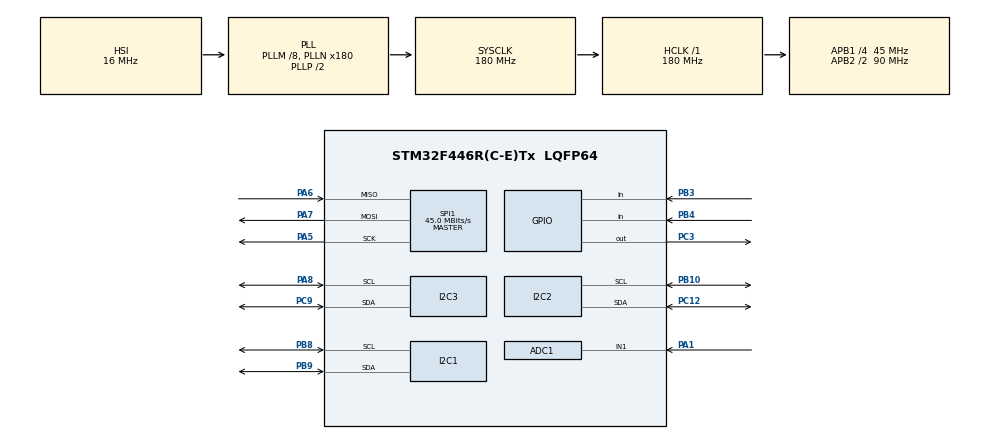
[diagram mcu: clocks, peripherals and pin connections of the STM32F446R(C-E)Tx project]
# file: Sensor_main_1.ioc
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ADC1.Channel-0\#ChannelRegularConversion=ADC_CHANNEL_1
ADC1.NbrOfConversionFlag=1
ADC1.Rank-0\#ChannelRegularConversion=1
ADC1.SamplingTime-0\#ChannelRegularConversion=ADC_SAMPLETIME_3CYCLES
ADC1.master=1
I2C1.I2C_Mode=I2C_Fast
I2C3.I2C_Mode=I2C_Fast
Mcu.Family=STM32F4
Mcu.Name=STM32F446R(C-E)Tx
Mcu.Package=LQFP64
NVIC.PriorityGroup=NVIC_PRIORITYGROUP_4
PA1.Signal=ADCx_IN1
PA13.Mode=Serial_Wire
PA13.Signal=SYS_JTMS-SWDIO
PA14.Mode=Serial_Wire
PA14.Signal=SYS_JTCK-SWCLK
PA5.Mode=Full_Duplex_Master
PA5.Signal=SPI1_SCK
PA6.Mode=Full_Duplex_Master
PA6.Signal=SPI1_MISO
PA7.Mode=Full_Duplex_Master
PA7.Signal=SPI1_MOSI
PA8.Mode=I2C
PA8.Signal=I2C3_SCL
PB10.Mode=I2C
PB10.Signal=I2C2_SCL
PB3.Signal=GPIO_Input
PB4.Signal=GPIO_Input
PB8.Mode=I2C
PB8.Signal=I2C1_SCL
PB9.Mode=I2C
PB9.Signal=I2C1_SDA
PC12.Mode=I2C
PC12.Signal=I2C2_SDA
PC3.Signal=GPIO_Output
PC9.Mode=I2C
PC9.Signal=I2C3_SDA
PH0-OSC_IN.Mode=HSE-External-Oscillator
PH0-OSC_IN.Signal=RCC_OSC_IN
PH1-OSC_OUT.Mode=HSE-External-Oscillator
PH1-OSC_OUT.Signal=RCC_OSC_OUT
ProjectManager.HeapSize=0x200
ProjectManager.StackSize=0x400
ProjectManager.TargetToolchain=STM32CubeIDE
RCC.AHBFreq_Value=180000000
RCC.APB1CLKDivider=RCC_HCLK_DIV4
RCC.APB1Freq_Value=45000000
RCC.APB1TimFreq_Value=90000000
RCC.APB2CLKDivider=RCC_HCLK_DIV2
RCC.APB2Freq_Value=90000000
RCC.APB2TimFreq_Value=180000000
RCC.CortexFreq_Value=180000000
RCC.HCLKFreq_Value=180000000
RCC.HSE_VALUE=24000000
RCC.PLLM=8
RCC.PLLN=180
RCC.SYSCLKFreq_VALUE=180000000
RCC.SYSCLKSource=RCC_SYSCLKSOURCE_PLLCLK
RCC.USBFreq_Value=180000000
RCC.VCOOutputFreq_Value=360000000
SH.ADCx_IN1.0=ADC1_IN1,IN1
SPI1.BaudRatePrescaler=SPI_BAUDRATEPRESCALER_2
SPI1.CalculateBaudRate=45.0 MBits/s
SPI1.Direction=SPI_DIRECTION_2LINES
SPI1.Mode=SPI_MODE_MASTER
SPI1.VirtualType=VM_MASTER
board=custom

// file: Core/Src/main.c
/* USER CODE BEGIN Header */
/**
  ******************************************************************************
  * @file           : main.c
  * @brief          : Main program body
  ******************************************************************************
  * @attention
  *
  * Copyright (c) 2022 STMicroelectronics.
  * All rights reserved.
  *
  * This software is licensed under terms that can be found in the LICENSE file
  * in the root directory of this software component.
  * If no LICENSE file comes with this software, it is provided AS-IS.
  *
  ******************************************************************************
  */
/* USER CODE END Header */
#include "main.h"
#include "ssd1306.h"

/* USER CODE BEGIN PD */
FATFS fs;
FIL fil;
/* USER CODE END PD */

 ADC_HandleTypeDef hadc1;

I2C_HandleTypeDef hi2c1;
I2C_HandleTypeDef hi2c2;
I2C_HandleTypeDef hi2c3;

SPI_HandleTypeDef hspi1;

/* USER CODE BEGIN PV */
#define MPU6050_ADDRESS  0b1101000
#define HMC5883L_ADDRESS 0b0011110
#define MS5611_ADDRESS   0b1110111
/* USER CODE END PV */

void SystemClock_Config(void);
static void MX_GPIO_Init(void);
static void MX_ADC1_Init(void);
static void MX_I2C1_Init(void);
static void MX_I2C2_Init(void);
static void MX_I2C3_Init(void);
static void MX_SPI1_Init(void);

int main(void)
{

  /* MCU Configuration--------------------------------------------------------*/

  /* Reset of all peripherals, Initializes the Flash interface and the Systick. */
  HAL_Init();

  /* Configure the system clock */
  SystemClock_Config();

  /* Initialize all configured peripherals */
  MX_GPIO_Init();
  MX_ADC1_Init();
  MX_I2C1_Init();
  MX_I2C2_Init();
  MX_I2C3_Init();
  MX_SPI1_Init();
  /* USER CODE BEGIN 2 */
  	HAL_Delay(500);
    f_mount(&fs, "", 0);
    f_open(&fil, "write.txt", FA_OPEN_ALWAYS | FA_WRITE | FA_READ);
    f_lseek(&fil, fil.fsize);
    f_puts("Hello from Nizar\n", &fil);
    f_close(&fil);

  ssd1306_Init();
  //ssd1306_Fill(White);
  ssd1306_SetCursor(5,5);
  char retVal= ssd1306_WriteString("Hellos", Font_7x10, White);
  ssd1306_UpdateScreen();
  /* USER CODE END 2 */
#define D2R 0.01745329252 //Degree To Radian Constant

#define MPU6050_ADDR 0xD0 //Already Left Shifted
#define CONFIG_REG 0x1A
#define GYRO_CONFIG_REG 0x1B
#define ACCEL_CONFIG_REG 0x1C
#define SMPLRT_DIV_REG 0x19
#define INT_PIN_CFG 0x37
#define INT_ENABLE_REG 0x38
#define INT_STATUS_REG 0x3A
#define ACCEL_XOUT_H_REG 0x3B
#define TEMP_OUT_H_REG 0x41
#define GYRO_XOUT_H_REG 0x43
#define USER_CTRL_REG 0x6A
#define PWR_MGMT_1_REG 0x6B
#define WHO_AM_I_REG 0x75

/////////////////////////////////////
#define HMC5883L_ADDRESS              0x1E // Not Left Shifted
#define HMC5883L_REG_CONFIG_A         (0x00)
#define HMC5883L_REG_CONFIG_B         (0x01)
#define HMC5883L_REG_MODE             (0x02)
#define HMC5883L_REG_OUT_X_M          (0x03)
#define HMC5883L_REG_OUT_X_L          (0x04)
#define HMC5883L_REG_OUT_Z_M          (0x05)
#define HMC5883L_REG_OUT_Z_L          (0x06)
#define HMC5883L_REG_OUT_Y_M          (0x07)
#define HMC5883L_REG_OUT_Y_L          (0x08)
#define HMC5883L_REG_STATUS           (0x09)
#define HMC5883L_REG_IDENT_A          (0x0A)
#define HMC5883L_REG_IDENT_B          (0x0B)
#define HMC5883L_REG_IDENT_C          (0x0C)

  uint8_t MPU6050_rx=0;
  uint8_t MPU6050_rx_buf[20];
  uint8_t MPU6050_tx;
  float MPU6050_Gyro_LSB = 32.8;
  float MPU6050_Acc_LSB = 4096.0;

// configure the MPU6050 (gyro/accelerometer)
	MPU6050_tx = 0;
	HAL_I2C_Mem_Write(&hi2c1, MPU6050_ADDR, 0x6B, 1, 0x00, 1, 100); // exit sleep
	HAL_Delay(10);

	MPU6050_tx = 0;
	HAL_I2C_Mem_Write(&hi2c1, MPU6050_ADDR, 0x19, 1, 109, 1, 100); // sample rate = 8kHz / 110 = 72.7Hz
	HAL_Delay(10);

	MPU6050_tx = 0;
	HAL_I2C_Mem_Write(&hi2c1, MPU6050_ADDR, 0x1B, 1, 0x18, 1, 100); // gyro full scale = +/- 2000dps
	HAL_Delay(10);

	MPU6050_tx = 0;
	HAL_I2C_Mem_Write(&hi2c1, MPU6050_ADDR, 0x1C, 1, 0x08, 1, 100); // accelerometer full scale = +/- 4g
	HAL_Delay(10);

	MPU6050_tx = 0;
	HAL_I2C_Mem_Write(&hi2c1, MPU6050_ADDR, 0x38, 1, 0x01, 1, 100); // enable INTA interrupt
	HAL_Delay(10);

// configure the HMC5883L (magnetometer)

	HAL_I2C_Mem_Write(&hi2c1, MPU6050_ADDR, 0x6A, 1, 0x00, 1, 100); // disable i2c master mode
	HAL_Delay(10);

	HAL_I2C_Mem_Write(&hi2c1, MPU6050_ADDR, 0x37, 1, 0x02, 1, 100); // enable i2c master bypass mode
	HAL_Delay(10);

	HAL_I2C_Mem_Write(&hi2c1, HMC5883L_ADDRESS, 0x00, 1, 0x18, 1, 100); // sample rate = 75Hz
	HAL_Delay(10);

	HAL_I2C_Mem_Write(&hi2c1, HMC5883L_ADDRESS, 0x01, 1, 0x60, 1, 100); // full scale = +/- 2.5 Gauss
	HAL_Delay(10);

	HAL_I2C_Mem_Write(&hi2c1, HMC5883L_ADDRESS, 0x02, 1, 0x00, 1, 100); // continuous measurement mode
	HAL_Delay(10);

	HAL_I2C_Mem_Write(&hi2c1, MPU6050_ADDR, 0x37, 1, 0x00, 1, 100); // disable i2c master bypass mode
	HAL_Delay(10);

	HAL_I2C_Mem_Write(&hi2c1, MPU6050_ADDR, 0x6A, 1, 0x20, 1, 100); // enable i2c master mode
	HAL_Delay(10);

// configure the MPU6050 to automatically read the magnetometer

	HAL_I2C_Mem_Write(&hi2c1, MPU6050_ADDR, 0x25, 1, HMC5883L_ADDRESS | 0x80 , 1, 100); // slave 0 i2c address, read mode
	HAL_Delay(10);

	HAL_I2C_Mem_Write(&hi2c1, MPU6050_ADDR, 0x26, 1, 0x03, 1, 100); // slave 0 register = 0x03 (x axis)
	HAL_Delay(10);

	HAL_I2C_Mem_Write(&hi2c1, MPU6050_ADDR, 0x27, 1, 6 | 0x80, 1, 100); // slave 0 transfer size = 6, enabled
	HAL_Delay(10);

	HAL_I2C_Mem_Write(&hi2c1, MPU6050_ADDR, 0x67, 1, 1 , 1, 100); // enable slave 0 delay
	HAL_Delay(10);

  	uint8_t rx_buffer[20];
  /* Infinite loop */
  while (1)
  {
	  	uint8_t rx_buffer[20];
	  	HAL_I2C_Mem_Read(&hi2c1, MPU6050_ADDR,0x3B, 1, &rx_buffer,20,100);

	  	// extract the raw values
	  	int16_t  accel_x  = rx_buffer[0]  << 8 | rx_buffer[1];
	  	int16_t  accel_y  = rx_buffer[2]  << 8 | rx_buffer[3];
	  	int16_t  accel_z  = rx_buffer[4]  << 8 | rx_buffer[5];
	  	int16_t  mpu_temp = rx_buffer[6]  << 8 | rx_buffer[7];
	  	int16_t  gyro_x   = rx_buffer[8]  << 8 | rx_buffer[9];
	  	int16_t  gyro_y   = rx_buffer[10] << 8 | rx_buffer[11];
	  	int16_t  gyro_z   = rx_buffer[12] << 8 | rx_buffer[13];
	  	int16_t  magn_x   = rx_buffer[14] << 8 | rx_buffer[15];
	  	int16_t  magn_y   = rx_buffer[16] << 8 | rx_buffer[17];
	  	int16_t  magn_z   = rx_buffer[18] << 8 | rx_buffer[19];

	  	// convert accelerometer readings into G's
	  	int16_t	accel_x_g = accel_x / 8192.0f;
	  	int16_t	accel_y_g = accel_y / 8192.0f;
	  	int16_t	accel_z_g = accel_z / 8192.0f;

	  	// convert temperature reading into degrees Celsius
	  	int16_t	mpu_temp_c = mpu_temp / 340.0f + 36.53f;

	  	// convert gyro readings into Radians per second
	  	int16_t	gyro_x_rad = gyro_x / 939.650784f;
	  	int16_t	gyro_y_rad = gyro_y / 939.650784f;
	  	int16_t	gyro_z_rad = gyro_z / 939.650784f;

	  	// convert magnetometer readings into Gauss's
	  	int16_t	magn_x_gs = magn_x / 660.0f;
	  	int16_t	magn_y_gs = magn_y / 660.0f;
	  	int16_t	magn_z_gs = magn_z / 660.0f;

	  char str[5];
	  sprintf(str, "%d", accel_x);

	  ssd1306_SetCursor(0,0);
	  char retVal= ssd1306_WriteString(str, Font_7x10, White);
	  ssd1306_UpdateScreen();

	  char str2[5];
	  sprintf(str2, "%d", accel_y);

	  ssd1306_SetCursor(0,15);
	  retVal= ssd1306_WriteString(str2, Font_7x10, White);
	  ssd1306_UpdateScreen();
  }
}

void SystemClock_Config(void)
{
  RCC_OscInitTypeDef RCC_OscInitStruct = {0};
  RCC_ClkInitTypeDef RCC_ClkInitStruct = {0};

  /** Configure the main internal regulator output voltage
  */
  __HAL_RCC_PWR_CLK_ENABLE();
  __HAL_PWR_VOLTAGESCALING_CONFIG(PWR_REGULATOR_VOLTAGE_SCALE1);

  /** Initializes the RCC Oscillators according to the specified parameters
  * in the RCC_OscInitTypeDef structure.
  */
  RCC_OscInitStruct.OscillatorType = RCC_OSCILLATORTYPE_HSI;
  RCC_OscInitStruct.HSIState = RCC_HSI_ON;
  RCC_OscInitStruct.HSICalibrationValue = RCC_HSICALIBRATION_DEFAULT;
  RCC_OscInitStruct.PLL.PLLState = RCC_PLL_ON;
  RCC_OscInitStruct.PLL.PLLSource = RCC_PLLSOURCE_HSI;
  RCC_OscInitStruct.PLL.PLLM = 8;
  RCC_OscInitStruct.PLL.PLLN = 180;
  RCC_OscInitStruct.PLL.PLLP = RCC_PLLP_DIV2;
  RCC_OscInitStruct.PLL.PLLQ = 2;
  RCC_OscInitStruct.PLL.PLLR = 2;
  if (HAL_RCC_OscConfig(&RCC_OscInitStruct) != HAL_OK)
  {
    Error_Handler();
  }

  /** Activate the Over-Drive mode
  */
  if (HAL_PWREx_EnableOverDrive() != HAL_OK)
  {
    Error_Handler();
  }

  /** Initializes the CPU, AHB and APB buses clocks
  */
  RCC_ClkInitStruct.ClockType = RCC_CLOCKTYPE_HCLK|RCC_CLOCKTYPE_SYSCLK
                              |RCC_CLOCKTYPE_PCLK1|RCC_CLOCKTYPE_PCLK2;
  RCC_ClkInitStruct.SYSCLKSource = RCC_SYSCLKSOURCE_PLLCLK;
  RCC_ClkInitStruct.AHBCLKDivider = RCC_SYSCLK_DIV1;
  RCC_ClkInitStruct.APB1CLKDivider = RCC_HCLK_DIV4;
  RCC_ClkInitStruct.APB2CLKDivider = RCC_HCLK_DIV2;

  if (HAL_RCC_ClockConfig(&RCC_ClkInitStruct, FLASH_LATENCY_5) != HAL_OK)
  {
    Error_Handler();
  }
}

static void MX_ADC1_Init(void)
{

  ADC_ChannelConfTypeDef sConfig = {0};

  /** Configure the global features of the ADC (Clock, Resolution, Data Alignment and number of conversion)
  */
  hadc1.Instance = ADC1;
  hadc1.Init.ClockPrescaler = ADC_CLOCK_SYNC_PCLK_DIV4;
  hadc1.Init.Resolution = ADC_RESOLUTION_12B;
  hadc1.Init.ScanConvMode = DISABLE;
  hadc1.Init.ContinuousConvMode = DISABLE;
  hadc1.Init.DiscontinuousConvMode = DISABLE;
  hadc1.Init.ExternalTrigConvEdge = ADC_EXTERNALTRIGCONVEDGE_NONE;
  hadc1.Init.ExternalTrigConv = ADC_SOFTWARE_START;
  hadc1.Init.DataAlign = ADC_DATAALIGN_RIGHT;
  hadc1.Init.NbrOfConversion = 1;
  hadc1.Init.DMAContinuousRequests = DISABLE;
  hadc1.Init.EOCSelection = ADC_EOC_SINGLE_CONV;
  if (HAL_ADC_Init(&hadc1) != HAL_OK)
  {
    Error_Handler();
  }

  /** Configure for the selected ADC regular channel its corresponding rank in the sequencer and its sample time.
  */
  sConfig.Channel = ADC_CHANNEL_1;
  sConfig.Rank = 1;
  sConfig.SamplingTime = ADC_SAMPLETIME_3CYCLES;
  if (HAL_ADC_ConfigChannel(&hadc1, &sConfig) != HAL_OK)
  {
    Error_Handler();
  }

}

static void MX_I2C1_Init(void)
{

  hi2c1.Instance = I2C1;
  hi2c1.Init.ClockSpeed = 400000;
  hi2c1.Init.DutyCycle = I2C_DUTYCYCLE_2;
  hi2c1.Init.OwnAddress1 = 0;
  hi2c1.Init.AddressingMode = I2C_ADDRESSINGMODE_7BIT;
  hi2c1.Init.DualAddressMode = I2C_DUALADDRESS_DISABLE;
  hi2c1.Init.OwnAddress2 = 0;
  hi2c1.Init.GeneralCallMode = I2C_GENERALCALL_DISABLE;
  hi2c1.Init.NoStretchMode = I2C_NOSTRETCH_DISABLE;
  if (HAL_I2C_Init(&hi2c1) != HAL_OK)
  {
    Error_Handler();
  }

}

static void MX_I2C2_Init(void)
{

  hi2c2.Instance = I2C2;
  hi2c2.Init.ClockSpeed = 100000;
  hi2c2.Init.DutyCycle = I2C_DUTYCYCLE_2;
  hi2c2.Init.OwnAddress1 = 0;
  hi2c2.Init.AddressingMode = I2C_ADDRESSINGMODE_7BIT;
  hi2c2.Init.DualAddressMode = I2C_DUALADDRESS_DISABLE;
  hi2c2.Init.OwnAddress2 = 0;
  hi2c2.Init.GeneralCallMode = I2C_GENERALCALL_DISABLE;
  hi2c2.Init.NoStretchMode = I2C_NOSTRETCH_DISABLE;
  if (HAL_I2C_Init(&hi2c2) != HAL_OK)
  {
    Error_Handler();
  }

}

static void MX_I2C3_Init(void)
{

  hi2c3.Instance = I2C3;
  hi2c3.Init.ClockSpeed = 400000;
  hi2c3.Init.DutyCycle = I2C_DUTYCYCLE_2;
  hi2c3.Init.OwnAddress1 = 0;
  hi2c3.Init.AddressingMode = I2C_ADDRESSINGMODE_7BIT;
  hi2c3.Init.DualAddressMode = I2C_DUALADDRESS_DISABLE;
  hi2c3.Init.OwnAddress2 = 0;
  hi2c3.Init.GeneralCallMode = I2C_GENERALCALL_DISABLE;
  hi2c3.Init.NoStretchMode = I2C_NOSTRETCH_DISABLE;
  if (HAL_I2C_Init(&hi2c3) != HAL_OK)
  {
    Error_Handler();
  }

}

static void MX_SPI1_Init(void)
{

  /* SPI1 parameter configuration*/
  hspi1.Instance = SPI1;
  hspi1.Init.Mode = SPI_MODE_MASTER;
  hspi1.Init.Direction = SPI_DIRECTION_2LINES;
  hspi1.Init.DataSize = SPI_DATASIZE_8BIT;
  hspi1.Init.CLKPolarity = SPI_POLARITY_LOW;
  hspi1.Init.CLKPhase = SPI_PHASE_1EDGE;
  hspi1.Init.NSS = SPI_NSS_SOFT;
  hspi1.Init.BaudRatePrescaler = SPI_BAUDRATEPRESCALER_2;
  hspi1.Init.FirstBit = SPI_FIRSTBIT_MSB;
  hspi1.Init.TIMode = SPI_TIMODE_DISABLE;
  hspi1.Init.CRCCalculation = SPI_CRCCALCULATION_DISABLE;
  hspi1.Init.CRCPolynomial = 10;
  if (HAL_SPI_Init(&hspi1) != HAL_OK)
  {
    Error_Handler();
  }

}

static void MX_GPIO_Init(void)
{
  GPIO_InitTypeDef GPIO_InitStruct = {0};

  /* GPIO Ports Clock Enable */
  __HAL_RCC_GPIOH_CLK_ENABLE();
  __HAL_RCC_GPIOC_CLK_ENABLE();
  __HAL_RCC_GPIOA_CLK_ENABLE();
  __HAL_RCC_GPIOB_CLK_ENABLE();

  /*Configure GPIO pin Output Level */
  HAL_GPIO_WritePin(GPIOC, GPIO_PIN_3, GPIO_PIN_RESET);

  /*Configure GPIO pin : PC3 */
  GPIO_InitStruct.Pin = GPIO_PIN_3;
  GPIO_InitStruct.Mode = GPIO_MODE_OUTPUT_PP;
  GPIO_InitStruct.Pull = GPIO_NOPULL;
  GPIO_InitStruct.Speed = GPIO_SPEED_FREQ_LOW;
  HAL_GPIO_Init(GPIOC, &GPIO_InitStruct);

  /*Configure GPIO pins : PB3 PB4 */
  GPIO_InitStruct.Pin = GPIO_PIN_3|GPIO_PIN_4;
  GPIO_InitStruct.Mode = GPIO_MODE_INPUT;
  GPIO_InitStruct.Pull = GPIO_NOPULL;
  HAL_GPIO_Init(GPIOB, &GPIO_InitStruct);

}

void Error_Handler(void)
{
  __disable_irq();
  while (1)
  {
  }
}
